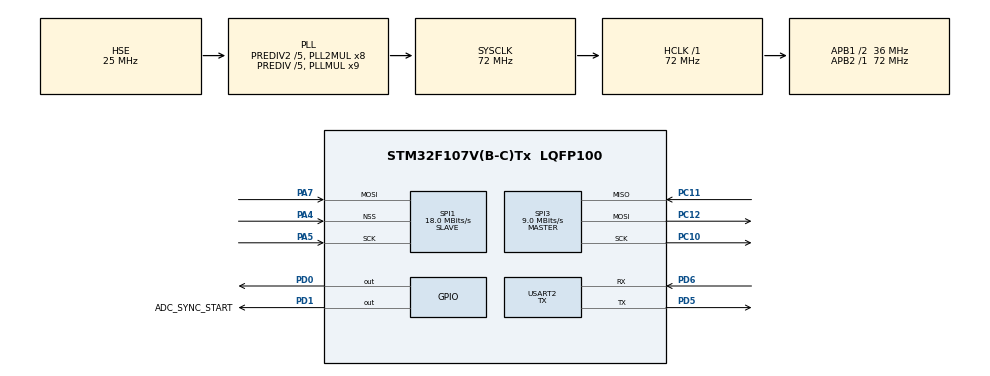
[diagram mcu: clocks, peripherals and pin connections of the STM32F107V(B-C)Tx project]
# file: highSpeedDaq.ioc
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Dma.Request0=USART2_TX
Dma.USART2_TX.0.Direction=DMA_MEMORY_TO_PERIPH
Dma.USART2_TX.0.Instance=DMA1_Channel7
Dma.USART2_TX.0.MemDataAlignment=DMA_MDATAALIGN_BYTE
Dma.USART2_TX.0.MemInc=DMA_MINC_ENABLE
Dma.USART2_TX.0.Mode=DMA_NORMAL
Dma.USART2_TX.0.PeriphDataAlignment=DMA_PDATAALIGN_BYTE
Dma.USART2_TX.0.PeriphInc=DMA_PINC_DISABLE
Dma.USART2_TX.0.Priority=DMA_PRIORITY_LOW
Mcu.Family=STM32F1
Mcu.Name=STM32F107V(B-C)Tx
Mcu.Package=LQFP100
NVIC.DMA1_Channel7_IRQn=true\:0\:0\:false\:false\:true\:false\:true
NVIC.PriorityGroup=NVIC_PRIORITYGROUP_4
NVIC.USART2_IRQn=true\:0\:0\:false\:false\:true\:true\:true
OSC_IN.Mode=HSE-External-Oscillator
OSC_IN.Signal=RCC_OSC_IN
OSC_OUT.Mode=HSE-External-Oscillator
OSC_OUT.Signal=RCC_OSC_OUT
PA13.Mode=Serial_Wire
PA13.Signal=SYS_JTMS-SWDIO
PA14.Mode=Serial_Wire
PA14.Signal=SYS_JTCK-SWCLK
PA4.Mode=NSS_Signal_Hard_Input
PA4.Signal=SPI1_NSS
PA5.Mode=RX_Only_Simplex_Unidirect_Slave
PA5.Signal=SPI1_SCK
PA7.Mode=RX_Only_Simplex_Unidirect_Slave
PA7.Signal=SPI1_MOSI
PC10.Mode=Full_Duplex_Master
PC10.Signal=SPI3_SCK
PC11.Mode=Full_Duplex_Master
PC11.Signal=SPI3_MISO
PC12.Mode=Full_Duplex_Master
PC12.Signal=SPI3_MOSI
PD0.Signal=GPIO_Output
PD1.GPIO_Label=ADC_SYNC_START
PD1.Signal=GPIO_Output
PD5.Mode=Asynchronous
PD5.Signal=USART2_TX
PD6.Mode=Asynchronous
PD6.Signal=USART2_RX
ProjectManager.HeapSize=0x200
ProjectManager.StackSize=0x400
ProjectManager.TargetToolchain=STM32CubeIDE
RCC.AHBFreq_Value=72000000
RCC.APB1CLKDivider=RCC_HCLK_DIV2
RCC.APB1Freq_Value=36000000
RCC.APB1TimFreq_Value=72000000
RCC.APB2Freq_Value=72000000
RCC.APB2TimFreq_Value=72000000
RCC.HCLKFreq_Value=72000000
RCC.HSEDivPLL=RCC_HSE_PREDIV_DIV5
RCC.HSE_VALUE=25000000
RCC.PLLMUL=RCC_PLL_MUL9
RCC.PLLSourceVirtual=RCC_PLLSOURCE_HSE
RCC.Prediv1Source=RCC_PREDIV1_SOURCE_PLL2
RCC.Prediv2=RCC_HSE_PREDIV2_DIV5
RCC.SYSCLKFreq_VALUE=72000000
RCC.SYSCLKSource=RCC_SYSCLKSOURCE_PLLCLK
RCC.USBFreq_Value=48000000
SPI1.BaudRatePrescaler=SPI_BAUDRATEPRESCALER_4
SPI1.CLKPolarity=SPI_POLARITY_HIGH
SPI1.CalculateBaudRate=18.0 MBits/s
SPI1.Direction=SPI_DIRECTION_2LINES_RXONLY
SPI1.Mode=SPI_MODE_SLAVE
SPI1.VirtualNSS=VM_NSSHARD
SPI1.VirtualType=VM_SLAVE
SPI3.BaudRatePrescaler=SPI_BAUDRATEPRESCALER_4
SPI3.CalculateBaudRate=9.0 MBits/s
SPI3.Direction=SPI_DIRECTION_2LINES
SPI3.Mode=SPI_MODE_MASTER
SPI3.VirtualType=VM_MASTER
USART2.Mode=MODE_TX
USART2.VirtualMode=VM_ASYNC
board=custom

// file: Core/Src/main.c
/* USER CODE BEGIN Header */
/**
  ******************************************************************************
  * @file           : main.c
  * @brief          : Main program body
  ******************************************************************************
  * @attention
  *
  * <h2><center>&copy; Copyright (c) 2021 STMicroelectronics.
  * All rights reserved.</center></h2>
  *
  * This software component is licensed by ST under BSD 3-Clause license,
  * the "License"; You may not use this file except in compliance with the
  * License. You may obtain a copy of the License at:
  *                        opensource.org/licenses/BSD-3-Clause
  *
  ******************************************************************************
  */
/* USER CODE END Header */
#include "main.h"

/* USER CODE BEGIN Includes */
#include "debug.h"

/* USER CODE END Includes */

SPI_HandleTypeDef hspi1;
SPI_HandleTypeDef hspi3;

UART_HandleTypeDef huart2;
DMA_HandleTypeDef hdma_usart2_tx;

void SystemClock_Config(void);
static void MX_GPIO_Init(void);
static void MX_DMA_Init(void);
static void MX_USART2_UART_Init(void);
static void MX_SPI3_Init(void);
static void MX_SPI1_Init(void);

/* USER CODE BEGIN 0 */

uint8_t EXTI0_Flag = 0;

void HAL_GPIO_EXTI_Callback(uint16_t GPIO_Pin)
{

	if (GPIO_Pin == GPIO_PIN_4)
	{
		__HAL_SPI_ENABLE(&hspi1);
		 __HAL_GPIO_EXTI_CLEAR_IT(EXTI4_IRQn);
		EXTI0_Flag = 1;
		/*uint8_t Rx_temp = *(__IO uint8_t *)&hspi1.Instance->DR;
		if (Rx_temp > 0x00)
			dbg_printf("%x\r\n", Rx_temp);*/
	}

}

/* USER CODE END 0 */

int main(void)
{

  /* MCU Configuration--------------------------------------------------------*/

  /* Reset of all peripherals, Initializes the Flash interface and the Systick. */
  HAL_Init();

  /* Configure the system clock */
  SystemClock_Config();

  /* Initialize all configured peripherals */
  MX_GPIO_Init();
  MX_DMA_Init();
  MX_USART2_UART_Init();
  MX_SPI3_Init();
  MX_SPI1_Init();
  /* USER CODE BEGIN 2 */

  debug_init();

  HAL_GPIO_WritePin(GPIOD, GPIO_PIN_0, GPIO_PIN_RESET);
  uint8_t buf[2];
  uint8_t read[2];
  buf[0] = 0x80 | (0x0A & 0x7F);
  buf[1] = 0x00;
  HAL_SPI_TransmitReceive(&hspi3, &buf[0], &read[0], 2, 1000);
  HAL_GPIO_WritePin(GPIOD, GPIO_PIN_0, GPIO_PIN_SET);

  HAL_GPIO_WritePin(GPIOD, GPIO_PIN_0, GPIO_PIN_RESET);
  buf[0] = 0x80 | (0x0A & 0x7F);
    buf[1] = 0x00;
  HAL_SPI_TransmitReceive(&hspi3, &buf[0], &read[0], 2, 1000);
  HAL_GPIO_WritePin(GPIOD, GPIO_PIN_0, GPIO_PIN_SET);

  dbg_printf("read : %x - %x \n", read[0], read[1]);
  HAL_Delay(1000);

#if 0

  HAL_GPIO_WritePin(GPIOD, GPIO_PIN_0, GPIO_PIN_RESET);
  buf[0] = (0x00 & 0x7F);
  buf[1] = 0x00;

  HAL_SPI_Transmit(&hspi3, &buf[0], 2, 1000);
  HAL_GPIO_WritePin(GPIOD, GPIO_PIN_0, GPIO_PIN_SET);

  /*HAL_GPIO_WritePin(GPIOD, GPIO_PIN_1, GPIO_PIN_SET);
  HAL_GPIO_WritePin(GPIOD, GPIO_PIN_1, GPIO_PIN_RESET);*/

  HAL_Delay(1000);

  HAL_GPIO_WritePin(GPIOD, GPIO_PIN_0, GPIO_PIN_RESET);
  buf[0] = 0x80 | (0x00 & 0x7F);
  buf[1] = 0x00;
  HAL_SPI_TransmitReceive(&hspi3, &buf[0], &read[0], 2, 1000);
  HAL_GPIO_WritePin(GPIOD, GPIO_PIN_0, GPIO_PIN_SET);

  HAL_GPIO_WritePin(GPIOD, GPIO_PIN_0, GPIO_PIN_RESET);
  buf[0] = 0x80 | (0x00 & 0x7F);
  buf[1] = 0x00;
  HAL_SPI_TransmitReceive(&hspi3, &buf[0], &read[0], 2, 1000);
  HAL_GPIO_WritePin(GPIOD, GPIO_PIN_0, GPIO_PIN_SET);

  dbg_printf("read2 : %x - %x \n", read[0], read[1]);

  HAL_Delay(1000);
#endif
  uint8_t Rx_temp;
  uint8_t SPI_RxBuffer[1024] = {0};
  uint32_t RxBuf_Idn = 0;
  uint32_t SPI_ByteCount = 0;
  uint8_t SPI_CNVCount = 32;
  uint8_t SPI_CNVByteNum = 0;
  /* USER CODE END 2 */

  /* Infinite loop */
  /* USER CODE BEGIN WHILE */
  uint32_t starttime = HAL_GetTick();
  while (1)
  {
    /* USER CODE END WHILE */

    /* USER CODE BEGIN 3 */
	 /* dbg_printf("High Speed DAC...\n");
	  HAL_Delay(1000);*/

	  if (EXTI0_Flag)
	  {
		  EXTI0_Flag = 0;

		  Rx_temp = *(__IO uint8_t *)&hspi1.Instance->DR;
		  /*if (Rx_temp > 0x00)
		  {
			  dbg_printf("%x \r\n", Rx_temp);
		  }*/
		   __HAL_SPI_ENABLE(&hspi1);

		   while (SPI_ByteCount < 32)
		   {

			   // Check the RXNE flag
				if (__HAL_SPI_GET_FLAG(&hspi1, SPI_FLAG_RXNE))//
				{
					// transfer the received data from DR register to memory
					SPI_RxBuffer[RxBuf_Idn] = *(__IO uint8_t *)&hspi1.Instance->DR;
					/*if (SPI_RxBuffer[RxBuf_Idn] > 0x00)
					{
						//dbg_printf("%x \r\n", SPI_RxBuffer[RxBuf_Idn]);
					}*/

					RxBuf_Idn++;
					SPI_ByteCount++;
				}
		   }
		    __HAL_SPI_DISABLE(&hspi1);
		     //SPI_CNVCount++;
		    //RxBuf_Idn = SPI_CNVCount * SPI_CNVByteNum;

		   //dbg_printf("%d \r\n", RxBuf_Idn);
		   //RxBuf_Idn = 0;
		   //HAL_Delay(1000);
		   SPI_ByteCount = 0;
	  }
	  if (RxBuf_Idn >= 1024)
	  {
		  uint32_t finishTime = HAL_GetTick();
		  dbg_printf("%d - %d = %d\r\n", finishTime, starttime, finishTime - starttime);
		  RxBuf_Idn = 0;
		  for (int i=0; i<1024; i++)
		  {
			  /*if (SPI_RxBuffer[i] > 0x00)
				  dbg_printf("[%d] : %x\r\n", i, SPI_RxBuffer[i]);*/
			  //HAL_Delay(10);
		  }

	  }

  }
  /* USER CODE END 3 */
}

void SystemClock_Config(void)
{
  RCC_OscInitTypeDef RCC_OscInitStruct = {0};
  RCC_ClkInitTypeDef RCC_ClkInitStruct = {0};

  /** Initializes the RCC Oscillators according to the specified parameters
  * in the RCC_OscInitTypeDef structure.
  */
  RCC_OscInitStruct.OscillatorType = RCC_OSCILLATORTYPE_HSE;
  RCC_OscInitStruct.HSEState = RCC_HSE_ON;
  RCC_OscInitStruct.HSEPredivValue = RCC_HSE_PREDIV_DIV5;
  RCC_OscInitStruct.HSIState = RCC_HSI_ON;
  RCC_OscInitStruct.Prediv1Source = RCC_PREDIV1_SOURCE_PLL2;
  RCC_OscInitStruct.PLL.PLLState = RCC_PLL_ON;
  RCC_OscInitStruct.PLL.PLLSource = RCC_PLLSOURCE_HSE;
  RCC_OscInitStruct.PLL.PLLMUL = RCC_PLL_MUL9;
  RCC_OscInitStruct.PLL2.PLL2State = RCC_PLL2_ON;
  RCC_OscInitStruct.PLL2.PLL2MUL = RCC_PLL2_MUL8;
  RCC_OscInitStruct.PLL2.HSEPrediv2Value = RCC_HSE_PREDIV2_DIV5;
  if (HAL_RCC_OscConfig(&RCC_OscInitStruct) != HAL_OK)
  {
    Error_Handler();
  }
  /** Initializes the CPU, AHB and APB buses clocks
  */
  RCC_ClkInitStruct.ClockType = RCC_CLOCKTYPE_HCLK|RCC_CLOCKTYPE_SYSCLK
                              |RCC_CLOCKTYPE_PCLK1|RCC_CLOCKTYPE_PCLK2;
  RCC_ClkInitStruct.SYSCLKSource = RCC_SYSCLKSOURCE_PLLCLK;
  RCC_ClkInitStruct.AHBCLKDivider = RCC_SYSCLK_DIV1;
  RCC_ClkInitStruct.APB1CLKDivider = RCC_HCLK_DIV2;
  RCC_ClkInitStruct.APB2CLKDivider = RCC_HCLK_DIV1;

  if (HAL_RCC_ClockConfig(&RCC_ClkInitStruct, FLASH_LATENCY_2) != HAL_OK)
  {
    Error_Handler();
  }
  /** Configure the Systick interrupt time
  */
  __HAL_RCC_PLLI2S_ENABLE();
}

static void MX_SPI1_Init(void)
{

  /* SPI1 parameter configuration*/
  hspi1.Instance = SPI1;
  hspi1.Init.Mode = SPI_MODE_SLAVE;
  hspi1.Init.Direction = SPI_DIRECTION_2LINES_RXONLY;
  hspi1.Init.DataSize = SPI_DATASIZE_8BIT;
  hspi1.Init.CLKPolarity = SPI_POLARITY_HIGH;
  hspi1.Init.CLKPhase = SPI_PHASE_1EDGE;
  hspi1.Init.NSS = SPI_NSS_HARD_INPUT;
  hspi1.Init.BaudRatePrescaler = SPI_BAUDRATEPRESCALER_4;
  hspi1.Init.FirstBit = SPI_FIRSTBIT_MSB;
  hspi1.Init.TIMode = SPI_TIMODE_DISABLE;
  hspi1.Init.CRCCalculation = SPI_CRCCALCULATION_DISABLE;
  hspi1.Init.CRCPolynomial = 10;
  if (HAL_SPI_Init(&hspi1) != HAL_OK)
  {
    Error_Handler();
  }

}

static void MX_SPI3_Init(void)
{

  /* SPI3 parameter configuration*/
  hspi3.Instance = SPI3;
  hspi3.Init.Mode = SPI_MODE_MASTER;
  hspi3.Init.Direction = SPI_DIRECTION_2LINES;
  hspi3.Init.DataSize = SPI_DATASIZE_8BIT;
  hspi3.Init.CLKPolarity = SPI_POLARITY_LOW;
  hspi3.Init.CLKPhase = SPI_PHASE_1EDGE;
  hspi3.Init.NSS = SPI_NSS_SOFT;
  hspi3.Init.BaudRatePrescaler = SPI_BAUDRATEPRESCALER_4;
  hspi3.Init.FirstBit = SPI_FIRSTBIT_MSB;
  hspi3.Init.TIMode = SPI_TIMODE_DISABLE;
  hspi3.Init.CRCCalculation = SPI_CRCCALCULATION_DISABLE;
  hspi3.Init.CRCPolynomial = 10;
  if (HAL_SPI_Init(&hspi3) != HAL_OK)
  {
    Error_Handler();
  }

}

static void MX_USART2_UART_Init(void)
{

  huart2.Instance = USART2;
  huart2.Init.BaudRate = 115200;
  huart2.Init.WordLength = UART_WORDLENGTH_8B;
  huart2.Init.StopBits = UART_STOPBITS_1;
  huart2.Init.Parity = UART_PARITY_NONE;
  huart2.Init.Mode = UART_MODE_TX;
  huart2.Init.HwFlowCtl = UART_HWCONTROL_NONE;
  huart2.Init.OverSampling = UART_OVERSAMPLING_16;
  if (HAL_UART_Init(&huart2) != HAL_OK)
  {
    Error_Handler();
  }

}

static void MX_DMA_Init(void)
{

  /* DMA controller clock enable */
  __HAL_RCC_DMA1_CLK_ENABLE();

  /* DMA interrupt init */
  /* DMA1_Channel7_IRQn interrupt configuration */
  HAL_NVIC_SetPriority(DMA1_Channel7_IRQn, 0, 0);
  HAL_NVIC_EnableIRQ(DMA1_Channel7_IRQn);

}

static void MX_GPIO_Init(void)
{
  GPIO_InitTypeDef GPIO_InitStruct = {0};

  /* GPIO Ports Clock Enable */
  __HAL_RCC_GPIOA_CLK_ENABLE();
  __HAL_RCC_GPIOC_CLK_ENABLE();
  __HAL_RCC_GPIOD_CLK_ENABLE();

  /*Configure GPIO pin Output Level */
  HAL_GPIO_WritePin(GPIOD, GPIO_PIN_0|ADC_SYNC_START_Pin, GPIO_PIN_RESET);

  /*Configure GPIO pins : PD0 ADC_SYNC_START_Pin */
  GPIO_InitStruct.Pin = GPIO_PIN_0|ADC_SYNC_START_Pin;
  GPIO_InitStruct.Mode = GPIO_MODE_OUTPUT_PP;
  GPIO_InitStruct.Pull = GPIO_NOPULL;
  GPIO_InitStruct.Speed = GPIO_SPEED_FREQ_LOW;
  HAL_GPIO_Init(GPIOD, &GPIO_InitStruct);

}

void Error_Handler(void)
{
  __disable_irq();
  while (1)
  {
  }
}

/************************ (C) COPYRIGHT STMicroelectronics *****END OF FILE****/
